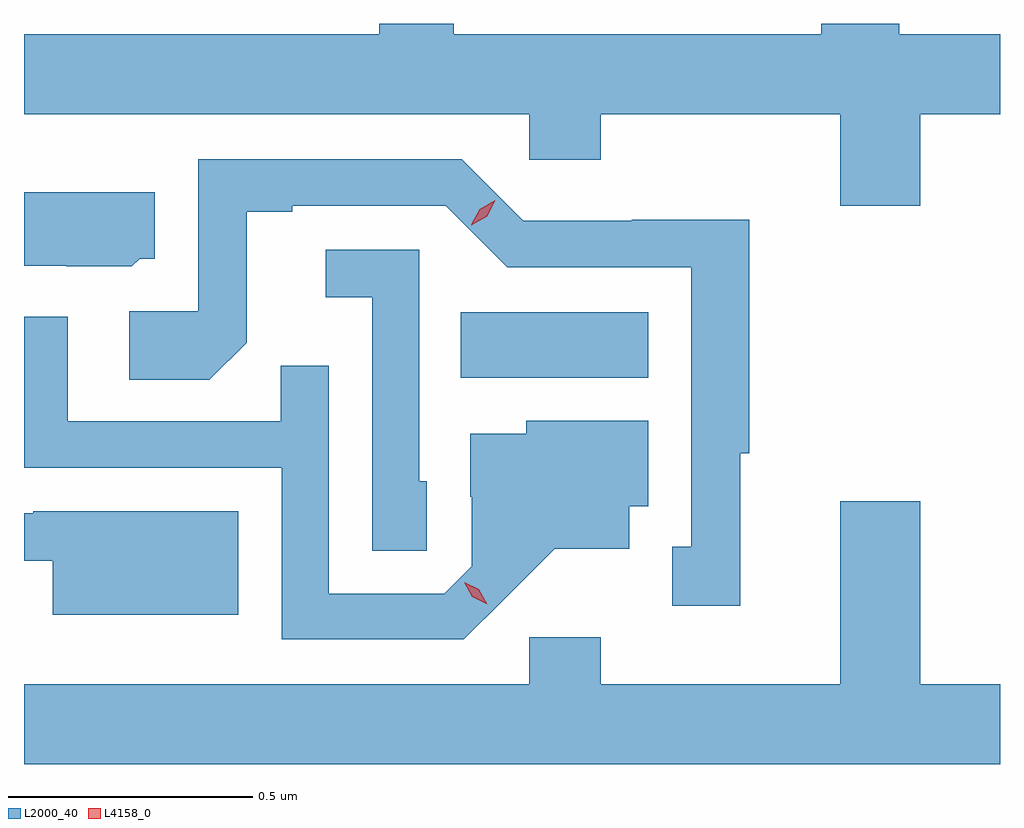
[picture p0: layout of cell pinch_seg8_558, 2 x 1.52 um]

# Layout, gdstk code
import gdstk
lib = gdstk.Library(unit=1e-6, precision=1e-09)
def R(c, l, rs):  # rectangles x0, y0, x1, y1
    for r in rs: c.add(gdstk.rectangle(r[:2], r[2:], *l))
def P(c, l, *ps):  # polygons
    for p in ps: c.add(gdstk.Polygon(p, *l))
L2000_40 = (2000, 40)
L4158_0 = (4158, 0)

pinch_seg8_558 = lib.new_cell('pinch_seg8_558')
R(pinch_seg8_558, L2000_40, [(116.278,1109.3,116.662,1109.434)])
P(pinch_seg8_558, L2000_40, [(117.22,1109.84),(117.383,1109.84),(117.383,1110.004),(117.177,1110.004),(117.177,1110.025),(117.017,1110.025),(117.017,1110.004),(116.264,1110.004),(116.264,1110.025),(116.111,1110.025),(116.111,1110.004),(115.383,1110.004),(115.383,1109.84),(116.418,1109.84),(116.418,1109.747),(116.565,1109.747),(116.565,1109.84),(117.056,1109.84),(117.056,1109.652),(117.22,1109.652)],
  [(116.851,1109.145),(116.869,1109.145),(116.869,1109.624),(116.628,1109.624),(116.628,1109.622),(116.406,1109.622),(116.28,1109.748),(115.74,1109.748),(115.74,1109.436),(115.599,1109.436),(115.599,1109.296),(115.763,1109.296),(115.839,1109.372),(115.839,1109.64),(115.933,1109.64),(115.933,1109.652),(116.247,1109.652),(116.373,1109.526),(116.75,1109.526),(116.75,1108.953),(116.711,1108.953),(116.711,1108.833),(116.851,1108.833)],
  [(115.62,1109.544),(115.651,1109.544),(115.651,1109.68),(115.383,1109.68),(115.383,1109.529),(115.47,1109.529),(115.47,1109.528),(115.604,1109.528)],
  [(116.208,1109.088),(116.193,1109.088),(116.193,1109.562),(116.001,1109.562),(116.001,1109.465),(116.097,1109.465),(116.097,1108.945),(116.208,1108.945)],
  [(116.368,1108.847),(116.471,1108.949),(116.623,1108.949),(116.623,1109.036),(116.662,1109.036),(116.662,1109.212),(116.412,1109.212),(116.412,1109.185),(116.297,1109.185),(116.297,1109.056),(116.301,1109.056),(116.301,1108.914),(116.244,1108.857),(116.007,1108.857),(116.007,1109.324),(115.909,1109.324),(115.909,1109.211),(115.473,1109.211),(115.473,1109.425),(115.383,1109.425),(115.383,1109.115),(115.911,1109.115),(115.911,1108.764),(116.284,1108.764)],
  [(117.383,1108.672),(117.22,1108.672),(117.22,1109.047),(117.056,1109.047),(117.056,1108.672),(116.565,1108.672),(116.565,1108.768),(116.418,1108.768),(116.418,1108.672),(115.383,1108.672),(115.383,1108.508),(117.383,1108.508)],
  [(115.822,1109.026),(115.402,1109.026),(115.402,1109.022),(115.383,1109.022),(115.383,1108.925),(115.442,1108.925),(115.442,1108.814),(115.822,1108.814)])
P(pinch_seg8_558, L4158_0, [(116.299,1109.612),(116.299,1109.613),(116.317,1109.645),(116.349,1109.664),(116.349,1109.664),(116.349,1109.664),(116.332,1109.631),(116.3,1109.612)],
  [(116.332,1108.836),(116.302,1108.851),(116.285,1108.881),(116.285,1108.881),(116.285,1108.881),(116.315,1108.866),(116.332,1108.836),(116.332,1108.836)])

lib.write_gds('pinch_seg8_558.gds')
